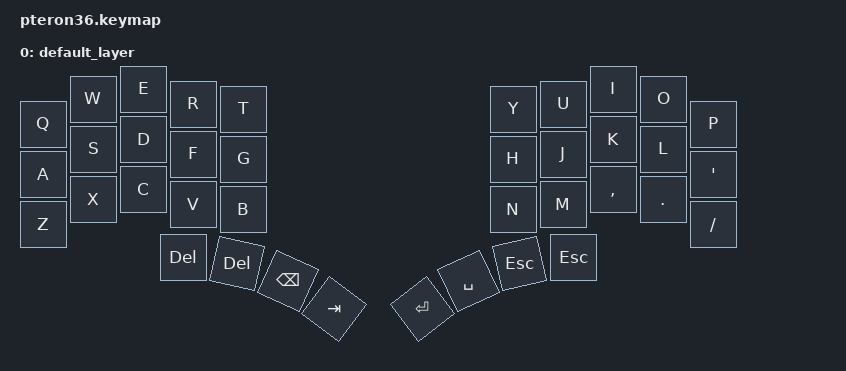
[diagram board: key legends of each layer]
/*
 * Copyright (c) 2020 The ZMK Contributors
 *
 * SPDX-License-Identifier: MIT
 */

#include <behaviors.dtsi>
#include <dt-bindings/zmk/keys.h>
#include <dt-bindings/zmk/bt.h>

/ {
        keymap {
                compatible = "zmk,keymap";

		default_layer {
// ------------------------------------------------------------------------------------------------------------
// |  ESC  |  1  |  2  |  3   |  4   |  5   |                   |  6   |  7    |  8    |  9   |   0   |   `   |
// |  TAB  |  Q  |  W  |  E   |  R   |  T   |                   |  Y   |  U    |  I    |  O   |   P   |   -   |
// |  CTRL |  A  |  S  |  D   |  F   |  G   |                   |  H   |  J    |  K    |  L   |   ;   |   '   |
// | SHIFT |  Z  |  X  |  C   |  V   |  B   |   "["  |  |  "]"  |  N   |  M    |  ,    |  .   |   /   | SHIFT |
//               | DEL | DEL  | BSPC |  TAB |                   | ENTER | SPC  | ESC   | ESC  |
			bindings = <
										                																					
            &kp Q  	    &kp W 	    &kp E	    &kp R	    &kp T               &kp Y	    &kp U	    &kp I		    &kp O	    &kp P		
            &kp A	    &kp S	    &kp D	    &kp F	    &kp G 	            &kp H	    &kp J       &kp K		    &kp L	    &kp APOS
            &kp Z	    &kp X	    &kp C	    &kp V	    &kp B			    &kp N	    &kp M 	    &kp COMMA	    &kp DOT	    &kp FSLH
                        &kp DEL     &kp DEL	    &kp BSPC    &kp TAB 	        &kp RET	    &kp SPACE   &kp ESC         &kp ESC
                    >;		
        };
    };
};
